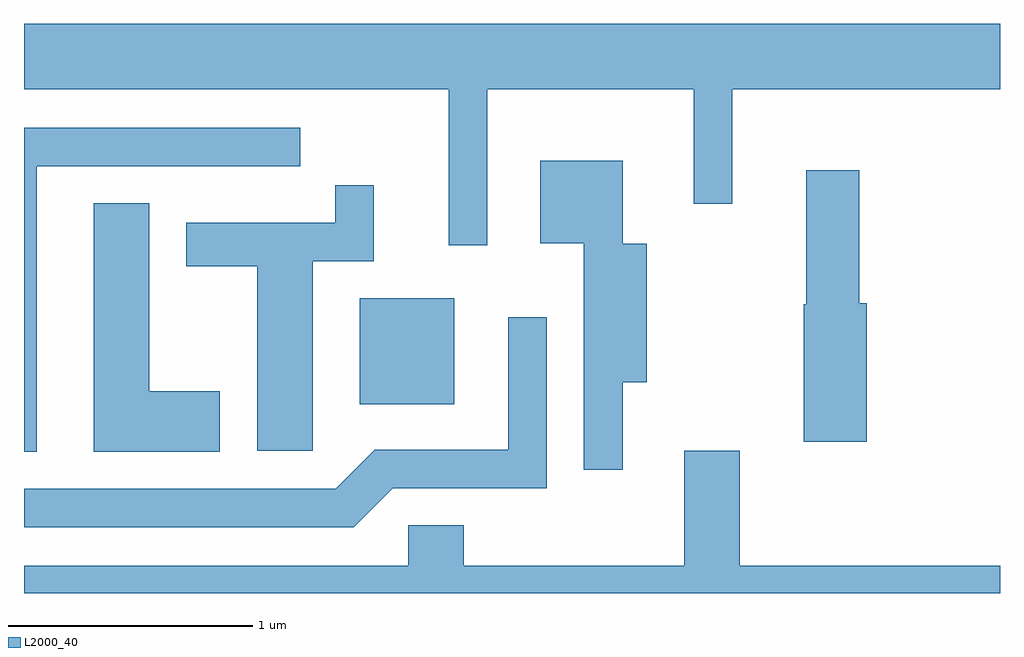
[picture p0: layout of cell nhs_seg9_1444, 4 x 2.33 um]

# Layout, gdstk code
import gdstk
lib = gdstk.Library(unit=1e-6, precision=1e-09)
def R(c, l, rs):  # rectangles x0, y0, x1, y1
    for r in rs: c.add(gdstk.rectangle(r[:2], r[2:], *l))
def P(c, l, *ps):  # polygons
    for p in ps: c.add(gdstk.Polygon(p, *l))
L2000_40 = (2000, 40)

nhs_seg9_1444 = lib.new_cell('nhs_seg9_1444')
R(nhs_seg9_1444, L2000_40, [(228.986,1977.206,229.374,1977.639)])
P(nhs_seg9_1444, L2000_40, [(229.509,1978.496),(230.356,1978.496),(230.356,1978.028),(230.514,1978.028),(230.514,1978.496),(231.611,1978.496),(231.611,1978.764),(227.611,1978.764),(227.611,1978.496),(229.351,1978.496),(229.351,1977.858),(229.509,1977.858)],
  [(227.664,1978.181),(228.743,1978.181),(228.743,1978.339),(227.611,1978.339),(227.611,1977.011),(227.664,1977.011)],
  [(230.064,1977.296),(230.164,1977.296),(230.164,1977.864),(230.064,1977.864),(230.064,1978.204),(229.726,1978.204),(229.726,1977.866),(229.906,1977.866),(229.906,1976.938),(230.064,1976.938)],
  [(231.064,1977.619),(231.034,1977.619),(231.034,1978.164),(230.816,1978.164),(230.816,1977.615),(230.806,1977.615),(230.806,1977.051),(231.064,1977.051)],
  [(228.794,1977.791),(229.044,1977.791),(229.044,1978.103),(228.886,1978.103),(228.886,1977.949),(228.276,1977.949),(228.276,1977.771),(228.566,1977.771),(228.566,1977.016),(228.794,1977.016)],
  [(228.414,1977.259),(228.124,1977.259),(228.124,1978.029),(227.896,1978.029),(227.896,1977.011),(228.414,1977.011)],
  [(229.122,1976.861),(229.754,1976.861),(229.754,1977.563),(229.596,1977.563),(229.596,1977.019),(229.049,1977.019),(228.889,1976.859),(227.611,1976.859),(227.611,1976.701),(228.962,1976.701)],
  [(231.611,1976.544),(230.544,1976.544),(230.544,1977.014),(230.316,1977.014),(230.316,1976.544),(229.414,1976.544),(229.414,1976.709),(229.186,1976.709),(229.186,1976.544),(227.611,1976.544),(227.611,1976.432),(231.611,1976.432)])

lib.write_gds('nhs_seg9_1444.gds')
